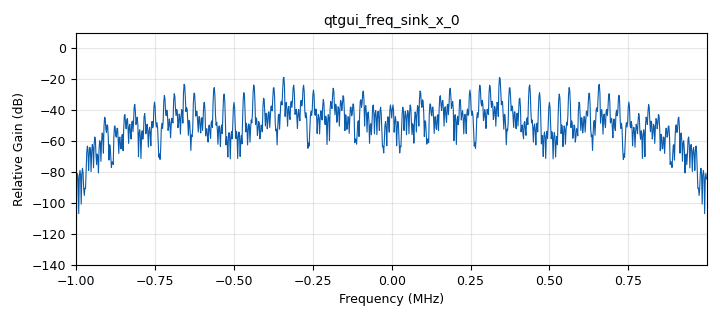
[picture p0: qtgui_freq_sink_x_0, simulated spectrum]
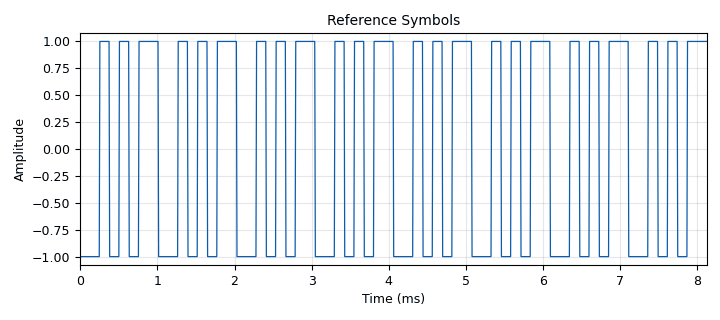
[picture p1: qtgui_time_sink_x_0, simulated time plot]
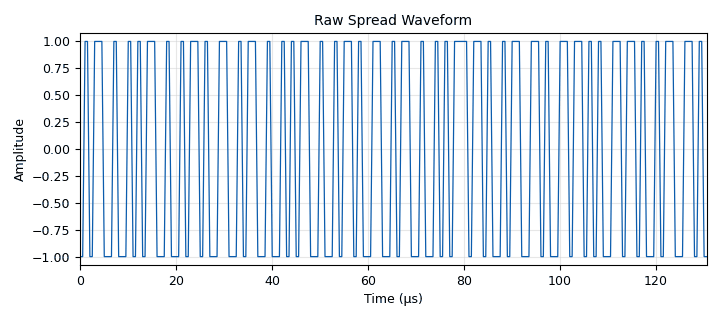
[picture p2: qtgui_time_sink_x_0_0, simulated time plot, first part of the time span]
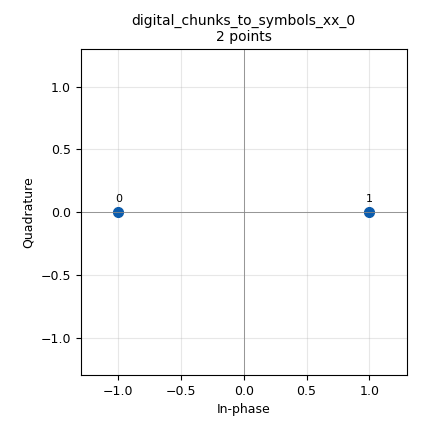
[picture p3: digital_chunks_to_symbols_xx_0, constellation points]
options:
  parameters:
    generate_options: qt_gui
    id: dsss_rf_tx
    output_language: python
    title: Not titled yet
  states: {}

blocks:
- name: baseband_samp_rate
  id: variable
  parameters:
    value: 2e6
  states: {}
- name: bit_pattern
  id: variable
  parameters:
    value: '[1,0,1,1,0,0,1,0]'
  states: {}
- name: center_freq
  id: variable
  parameters:
    value: 2390e6
  states: {}
- name: code_len
  id: variable
  parameters:
    value: '127'
  states: {}
- name: hackrf_samp_rate
  id: variable
  parameters:
    value: 2.4e6
  states: {}
- name: pn_code
  id: variable
  parameters:
    value: '[1,-1,1,1,-1,1,-1,-1,1,-1,1,1,-1,-1,1,1,-1,1,-1,-1,1,1,-1,1,1,-1,1,-1,1,-1,-1,1,1,-1,1,1,-1,1,-1,-1,1,-1,1,1,-1,-1,1,1,-1,1,-1,-1,1,1,-1,1,1,-1,1,-1,1,-1,-1,1,1,-1,1,1,-1,1,-1,-1,1,-1,1,1,-1,-1,1,1,-1,1,-1,-1,1,1,-1,1,1,-1,1,-1,1,-1,-1,1,1,-1,1,1,-1,1,-1,-1,1,-1,1,1,-1,-1,1,1,-1,1,-1,-1,1,1,-1,1,1,-1,1,-1,1,-1,-1]'
  states: {}
- name: samp_rate
  id: variable
  parameters:
    value: 2e6
  states: {}
- name: samples_per_symbol
  id: variable
  parameters:
    value: code_len * sps_chip
  states: {}
- name: sps_chip
  id: variable
  parameters:
    value: '2'
  states: {}
- name: tx_amp
  id: variable
  parameters:
    value: '0.1'
  states: {}
- name: tx_burst_samples
  id: variable
  parameters:
    value: 50e3
  states: {}
- name: analog_const_source_x_0
  id: analog_const_source_x
  parameters:
    const: '0'
    type: float
  states: {}
- name: blocks_float_to_complex_0
  id: blocks_float_to_complex
  parameters: {}
  states: {}
- name: blocks_head_0
  id: blocks_head
  parameters:
    num_items: int(tx_burst_samples)*2
    type: complex
  states: {}
- name: blocks_multiply_const_vxx_0
  id: blocks_multiply_const_vxx
  parameters:
    const: tx_amp
    type: complex
  states: {}
- name: blocks_multiply_xx_0
  id: blocks_multiply_xx
  parameters:
    type: float
  states: {}
- name: blocks_repeat_0
  id: blocks_repeat
  parameters:
    interp: samples_per_symbol
    type: float
  states: {}
- name: blocks_repeat_0_0
  id: blocks_repeat
  parameters:
    interp: sps_chip
    type: float
  states: {}
- name: blocks_repeat_0_0_1_0_0
  id: blocks_repeat
  parameters:
    interp: '16'
    type: float
  states: {}
- name: blocks_vector_source_x_0
  id: blocks_vector_source_x
  parameters:
    repeat: 'True'
    type: byte
    vector: bit_pattern
  states: {}
- name: blocks_vector_source_x_0_0
  id: blocks_vector_source_x
  parameters:
    repeat: 'True'
    type: float
    vector: pn_code
  states: {}
- name: digital_chunks_to_symbols_xx_0
  id: digital_chunks_to_symbols_xx
  parameters:
    dimension: '1'
    in_type: byte
    out_type: float
    symbol_table: '[-1.0,1.0]'
  states: {}
- name: qtgui_freq_sink_x_0
  id: qtgui_freq_sink_x
  parameters:
    bw: samp_rate
    fc: '0'
    fftsize: '1024'
    type: float
  states: {}
- name: qtgui_time_sink_x_0
  id: qtgui_time_sink_x
  parameters:
    name: '"Reference Symbols"'
    size: '1024'
    srate: (baseband_samp_rate / samples_per_symbol) * 16
    type: float
  states: {}
- name: qtgui_time_sink_x_0_0
  id: qtgui_time_sink_x
  parameters:
    name: '"Raw Spread Waveform"'
    size: '1024'
    srate: samp_rate
    type: float
  states: {}
- name: soapy_hackrf_sink_0
  id: soapy_hackrf_sink
  parameters:
    amp: tx_amp
    center_freq: center_freq
    samp_rate: samp_rate
    type: fc32
  states: {}

connections:
- [analog_const_source_x_0, '0', blocks_float_to_complex_0, '1']
- [blocks_float_to_complex_0, '0', blocks_multiply_const_vxx_0, '0']
- [blocks_head_0, '0', soapy_hackrf_sink_0, '0']
- [blocks_multiply_const_vxx_0, '0', blocks_head_0, '0']
- [blocks_multiply_xx_0, '0', blocks_float_to_complex_0, '0']
- [blocks_multiply_xx_0, '0', qtgui_freq_sink_x_0, '0']
- [blocks_multiply_xx_0, '0', qtgui_time_sink_x_0_0, '0']
- [blocks_repeat_0, '0', blocks_multiply_xx_0, '0']
- [blocks_repeat_0_0, '0', blocks_multiply_xx_0, '1']
- [blocks_repeat_0_0_1_0_0, '0', qtgui_time_sink_x_0, '0']
- [blocks_vector_source_x_0, '0', digital_chunks_to_symbols_xx_0, '0']
- [blocks_vector_source_x_0_0, '0', blocks_repeat_0_0, '0']
- [digital_chunks_to_symbols_xx_0, '0', blocks_repeat_0, '0']
- [digital_chunks_to_symbols_xx_0, '0', blocks_repeat_0_0_1_0_0, '0']

metadata:
  file_format: 1
  grc_version: 3.10.12.0
